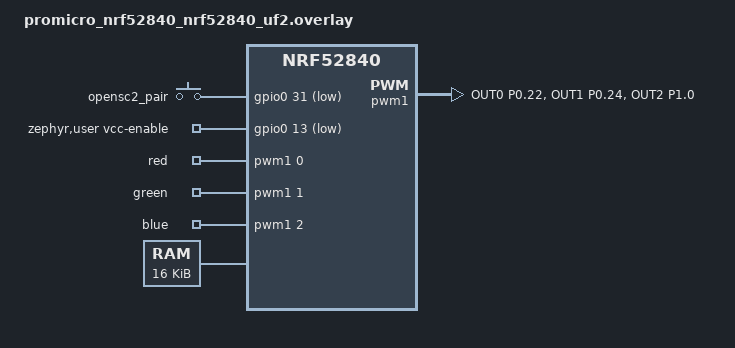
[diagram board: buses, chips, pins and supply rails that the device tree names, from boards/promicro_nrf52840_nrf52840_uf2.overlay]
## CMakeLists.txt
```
# Copyright (c) 2026 the OpenSC2-Controller authors
# SPDX-License-Identifier: MIT
cmake_minimum_required(VERSION 3.20.0)

# The OpenSC2 library is a Zephyr module: the OpenSC2-Controller repository. Inside the repository
# it is found here. In a copy of this folder elsewhere, set ZEPHYR_EXTRA_MODULES to your
# OpenSC2-Controller folder (environment variable, or -DZEPHYR_EXTRA_MODULES=<folder>), or list the
# repository in your west manifest (docs/integration.md).
if(EXISTS ${CMAKE_CURRENT_LIST_DIR}/../../zephyr/module.yml AND
   EXISTS ${CMAKE_CURRENT_LIST_DIR}/../../include/opensc2/opensc2.h)
  list(APPEND ZEPHYR_EXTRA_MODULES ${CMAKE_CURRENT_LIST_DIR}/../..)
endif()

find_package(Zephyr REQUIRED HINTS $ENV{ZEPHYR_BASE})
project(opensc2_rgb_led LANGUAGES C)

target_sources(app PRIVATE src/main.c)
```

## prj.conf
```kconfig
# Copyright (c) 2026 the OpenSC2-Controller authors
# SPDX-License-Identifier: MIT
#
# An RGB LED that follows Steam's LED colour and shows the link, wired or wireless.
# The SuperMini's own lines (its clock) are in boards/promicro_nrf52840_nrf52840_uf2.conf.

# The library. The puck sends packets of up to 128 bytes; the real controller keeps two replies
# queued.
CONFIG_OPENSC2=y
CONFIG_ESB_MAX_PAYLOAD_LENGTH=128
CONFIG_ESB_TX_FIFO_SIZE=2

# The LED on three PWM outputs, and the pairing button (gpio-keys).
CONFIG_GPIO=y
CONFIG_INPUT=y
CONFIG_PWM=y

# Wired mode (the overlay chooses the HID node). The library runs the USB device, so the board's
# own serial port does not start at boot; in wireless mode the library shows it as the console.
# Eight report buffers, and room on the stacks for the vendor commands that write flash.
CONFIG_CDC_ACM_SERIAL_INITIALIZE_AT_BOOT=n
CONFIG_USBD_HID_IN_BUF_COUNT=8
CONFIG_USBD_THREAD_STACK_SIZE=2048
CONFIG_SYSTEM_WORKQUEUE_STACK_SIZE=2048

# Bonds survive a reboot in Zephyr settings, on NVS in the board's storage partition. Steam's
# pairing over the cable stores the bond and then reboots the board: without these it is lost.
CONFIG_FLASH=y
CONFIG_FLASH_MAP=y
CONFIG_NVS=y
CONFIG_SETTINGS=y
CONFIG_SETTINGS_NVS=y

# Log and shell on the USB serial port in wireless mode ("opensc2 status", "opensc2 state"). The
# shell prints the log, so the plain UART log output is off (it would print every line twice).
# While wired the log goes into the USB session log, and the log thread needs a bigger stack.
CONFIG_LOG=y
CONFIG_LOG_PROCESS_THREAD_STACK_SIZE=1536
CONFIG_SHELL=y
CONFIG_LOG_BACKEND_UART=n
CONFIG_SHELL_PROMPT_UART="opensc2:~$ "
CONFIG_MAIN_STACK_SIZE=2048

# The LED loop in main() runs below the radio thread (priority 5).
CONFIG_MAIN_THREAD_PRIORITY=7
```

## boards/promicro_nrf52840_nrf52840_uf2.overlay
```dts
/*
 * Copyright (c) 2026 the OpenSC2-Controller authors
 * SPDX-License-Identifier: MIT
 *
 * SuperMini / Pro Micro nRF52840 with an RGB LED on three PWM outputs. For a common-anode LED
 * (anode to VCC, each cathode through a resistor of a few hundred ohms to its pin) keep
 * PWM_POLARITY_INVERTED; for a common-cathode LED (cathode to GND, each anode through its
 * resistor to its pin) use PWM_POLARITY_NORMAL.
 *
 *   P0.22 red    P0.24 green    P1.00 blue    P0.31 pairing button (to GND)
 */
#include <zephyr/dt-bindings/pwm/pwm.h>
#include <dt-bindings/opensc2/inputs.h>

/ {
	opensc2_buttons: opensc2_buttons {
		compatible = "gpio-keys";
		debounce-interval-ms = <5>;
		/* Held while plugging in: this boot is wireless. Pressed and released while wired:
		 * back to wireless mode. Pressed while wireless: answers an open pairing window. */
		opensc2_pair: pair {
			gpios = <&gpio0 31 (GPIO_PULL_UP | GPIO_ACTIVE_LOW)>;
			zephyr,code = <OPENSC2_KEY_PAIR>;
		};
	};

	zephyr,user {
		/* Three channels of one PWM instance share one period: 50 us (20 kHz), the real
		 * controller's LED period, flicker-free on camera too. The firmware finds them by
		 * their names. */
		pwms = <&pwm1 0 PWM_USEC(50) PWM_POLARITY_INVERTED>,
		       <&pwm1 1 PWM_USEC(50) PWM_POLARITY_INVERTED>,
		       <&pwm1 2 PWM_USEC(50) PWM_POLARITY_INVERTED>;
		pwm-names = "red", "green", "blue";
		/* nice!nano-style boards switch VCC with P0.13 (low = on); check yours. */
		vcc-enable-gpios = <&gpio0 13 GPIO_ACTIVE_LOW>;
	};

	/* Wired mode: the USB HID function of the wired Steam Controller 2 (64-byte reports, 1 ms),
	 * and 16 KB of RAM that a soft reset keeps (the warm-restart mark, the USB session log), clear
	 * of the RAM the UF2 bootloader uses at every reset (docs/porting.md). */
	chosen {
		opensc2,usb-hid = &opensc2_hid;
		opensc2,retained-ram = &opensc2_retained;
	};

	opensc2_hid: opensc2_hid {
		compatible = "zephyr,hid-device";
		in-report-size = <64>;
		in-polling-period-us = <1000>;
		out-report-size = <64>;
		out-polling-period-us = <1000>;
	};

	opensc2_retained: memory@2002c000 {
		compatible = "zephyr,memory-region", "mmio-sram";
		reg = <0x2002c000 DT_SIZE_K(16)>;
		zephyr,memory-region = "OPENSC2_RETAINED";
	};
};

/* The application's RAM ends below the retained area (176 KB of the 256). */
&sram0 {
	reg = <0x20000000 DT_SIZE_K(176)>;
};

/* The PWM outputs. Any free pins work: the nRF52840 routes PWM to any GPIO. */
&pinctrl {
	pwm1_rgb_default: pwm1_rgb_default {
		group1 {
			psels = <NRF_PSEL(PWM_OUT0, 0, 22)>, <NRF_PSEL(PWM_OUT1, 0, 24)>,
				<NRF_PSEL(PWM_OUT2, 1, 0)>;
		};
	};
	pwm1_rgb_sleep: pwm1_rgb_sleep {
		group1 {
			psels = <NRF_PSEL(PWM_OUT0, 0, 22)>, <NRF_PSEL(PWM_OUT1, 0, 24)>,
				<NRF_PSEL(PWM_OUT2, 1, 0)>;
			low-power-enable;
		};
	};
};

&pwm1 {
	status = "okay";
	pinctrl-0 = <&pwm1_rgb_default>;
	pinctrl-1 = <&pwm1_rgb_sleep>;
	pinctrl-names = "default", "sleep";
};

/* The board's first I2C bus uses P1.00: off. */
&i2c0 { status = "disabled"; };
```

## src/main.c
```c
/*
 * Copyright (c) 2026 the OpenSC2-Controller authors
 * SPDX-License-Identifier: MIT
 *
 * An RGB LED like the controller's status LED, wired or wireless, with the same patterns and
 * colours as app/ (app/src/status.c): the library's system state machine selects the real
 * controller's LED mode (opensc2_led_status(), on by default), and the library's pattern player
 * (<opensc2/led.h>) turns it into a colour every 10 ms with the real controller's patterns and
 * fades: white with a little blue for the puck (a slow pulse while looking for it, steady once
 * connected), green while wired, amber on USB power without a PC or with wireless off, and Steam's
 * own colour (vendor command 0xC5) while Steam's override is on (controller setting 37). Each
 * channel is scaled by the unit's trim (cal/rgbw_*, opensc2_cal_led_trim()) and by the brightness
 * Steam sets (settings 45 and 38); the white channel is mixed into red, green and blue.
 * There is no power_request callback: the library does the reboots Steam asks for itself, and it
 * ignores Steam's request to enter a bootloader for a firmware update.
 */
#include <zephyr/kernel.h>
#include <zephyr/drivers/gpio.h>
#include <zephyr/drivers/pwm.h>
#include <zephyr/input/input.h>
#include <zephyr/logging/log.h>
#include <opensc2/opensc2.h>
#include <opensc2/cal.h>
#include <opensc2/led.h>

LOG_MODULE_REGISTER(rgb_led, LOG_LEVEL_INF);

#define USER DT_PATH(zephyr_user)

static const struct pwm_dt_spec rgb[3] = {
	PWM_DT_SPEC_GET_BY_NAME(USER, red),
	PWM_DT_SPEC_GET_BY_NAME(USER, green),
	PWM_DT_SPEC_GET_BY_NAME(USER, blue),
};
static const struct gpio_dt_spec vcc = GPIO_DT_SPEC_GET(USER, vcc_enable_gpios);

/* ---- The pairing button: the same rules in every sample ------------------------------------- */

static const struct gpio_dt_spec pair_pin = GPIO_DT_SPEC_GET(DT_NODELABEL(opensc2_pair), gpios);
static bool pair_held_at_boot;   /* the press that chose wireless: ignored until it is released */
static bool pair_down;

/* Is the button held while the board starts? gpio-keys has already set the pin up with its
 * pull-up. Read twice, 5 ms apart: a bouncing contact counts as released. */
static bool pair_held(void)
{
	if (!gpio_is_ready_dt(&pair_pin) || gpio_pin_get_dt(&pair_pin) != 1) {
		return false;
	}
	k_msleep(5);
	return gpio_pin_get_dt(&pair_pin) == 1;
}

/* Wired: pressed and released, reboot into wireless mode (on the release, so that the button is
 * up again at the next boot). Wireless: pressed, answer a puck's open pairing window (untested
 * with Steam, which pairs controllers over the cable). */
static void pair_button(bool pressed)
{
	if (pair_held_at_boot) {
		pair_held_at_boot = pressed;   /* released: a normal button from now on */
		return;
	}
	if (opensc2_mode() == OPENSC2_MODE_WIRED) {
		if (pair_down && !pressed) {
			opensc2_reboot_later(OPENSC2_REBOOT_WIRELESS, "pair button", 0);
		}
	} else if (pressed) {
		opensc2_pair_start(0);   /* 0: the default window, 60 s */
	}
	pair_down = pressed;
}

static void on_button(struct input_event *evt, void *user_data)
{
	ARG_UNUSED(user_data);
	if (evt->type == INPUT_EV_KEY && evt->code == OPENSC2_KEY_PAIR) {
		pair_button(evt->value != 0);
	}
}
INPUT_CALLBACK_DEFINE(DEVICE_DT_GET(DT_NODELABEL(opensc2_buttons)), on_button, NULL);

/* ---- The LED --------------------------------------------------------------------------------- */

static bool led_ready;
static struct opensc2_led_player player;

static void set_duty(const struct pwm_dt_spec *ch, uint32_t duty)   /* thousandths */
{
	duty = MIN(duty, OPENSC2_LED_FULL_SCALE);
	(void)pwm_set_pulse_dt(ch, (uint32_t)((uint64_t)ch->period * duty / OPENSC2_LED_FULL_SCALE));
}

/* The LED's mode. With the system state machine (the default) the library's; without it a plain
 * one from the mode, the link and USB, as app/src/status.c does. */
static void get_status(struct opensc2_led_status *st)
{
	opensc2_led_status(st);
#if !defined(CONFIG_OPENSC2_SYSTEM)
	if (opensc2_mode() == OPENSC2_MODE_WIRED) {
		st->mode = opensc2_usb_state() == OPENSC2_USB_CONFIGURED ? OPENSC2_LED_MODE_WIRED :
			   OPENSC2_LED_MODE_AMBER;
	} else {
		st->mode = OPENSC2_LED_MODE_PUCK;
		st->connected = opensc2_link_state() == OPENSC2_LINK_CONNECTED;
		st->pairing = opensc2_link_state() == OPENSC2_LINK_PAIRING;
		st->external_power = true;
	}
#endif
}

/* One step of the player, every OPENSC2_LED_STEP_MS: the colour in thousandths of full duty
 * (R, G, B, W), then each channel's duty with its trim and Steam's brightness. */
static void led_step(void)
{
	struct opensc2_led_status st;
	uint16_t c[4];
	uint32_t white;

	get_status(&st);
	opensc2_led_player_step(&player, &st, k_uptime_get_32(), c);
	if (!led_ready) {
		return;
	}
	white = opensc2_led_duty(c[3], opensc2_cal_led_trim(3), st.brightness);
	for (int i = 0; i < 3; i++) {
		set_duty(&rgb[i], opensc2_led_duty(c[i], opensc2_cal_led_trim((uint8_t)i),
						   st.brightness) + white);
	}
}

int main(void)
{
	struct opensc2_config config = { .start = true };
	int err;

	gpio_pin_configure_dt(&vcc, GPIO_OUTPUT_ACTIVE);   /* a common anode is on VCC */
	led_ready = pwm_is_ready_dt(&rgb[0]) && pwm_is_ready_dt(&rgb[1]) &&
		    pwm_is_ready_dt(&rgb[2]);
	if (!led_ready) {
		LOG_ERR("The PWM outputs are not ready: no LED");
	}
	opensc2_led_player_init(&player);

	if (pair_held()) {
		pair_held_at_boot = true;
		config.boot_mode = OPENSC2_BOOT_WIRELESS;   /* held while plugging in: wireless */
	}
	err = opensc2_init(&config);
	if (err) {
		/* The console still starts (in wireless mode), so this can be read there. */
		LOG_ERR("opensc2_init failed (%d)", err);
	}

	/* The player needs a clock: step it every 10 ms. The library's led_status callback tells of
	 * a new mode too, but the patterns move between calls anyway. */
	for (;;) {
		led_step();
		k_msleep(OPENSC2_LED_STEP_MS);
	}
	return 0;
}
```
